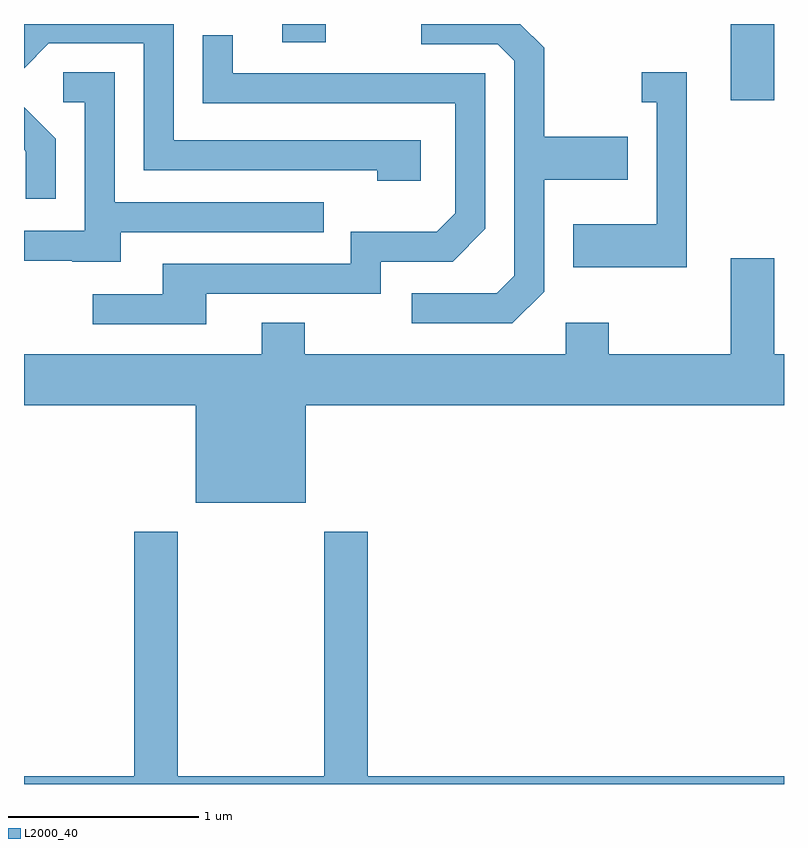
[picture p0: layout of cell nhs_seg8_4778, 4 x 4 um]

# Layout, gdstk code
import gdstk
lib = gdstk.Library(unit=1e-6, precision=1e-09)
def R(c, l, rs):  # rectangles x0, y0, x1, y1
    for r in rs: c.add(gdstk.rectangle(r[:2], r[2:], *l))
def P(c, l, *ps):  # polygons
    for p in ps: c.add(gdstk.Polygon(p, *l))
L2000_40 = (2000, 40)

nhs_seg8_4778 = lib.new_cell('nhs_seg8_4778')
R(nhs_seg8_4778, L2000_40, [(331.331,1917.941,331.559,1918.342), (328.971,1918.246,329.199,1918.342)])
P(nhs_seg8_4778, L2000_40, [(330.349,1916.934),(330.349,1917.521),(330.789,1917.521),(330.789,1917.749),(330.349,1917.749),(330.349,1918.217),(330.224,1918.342),(329.703,1918.342),(329.703,1918.236),(330.104,1918.236),(330.191,1918.149),(330.191,1917.017),(330.099,1916.924),(329.653,1916.924),(329.653,1916.766),(330.182,1916.766)],
  [(329.699,1917.729),(328.399,1917.729),(328.399,1918.342),(327.612,1918.342),(327.611,1918.341),(327.611,1918.11),(327.742,1918.241),(328.241,1918.241),(328.241,1917.571),(329.471,1917.571),(329.471,1917.516),(329.699,1917.516)],
  [(328.569,1916.921),(329.489,1916.921),(329.489,1917.091),(329.867,1917.091),(330.039,1917.264),(330.039,1918.084),(328.709,1918.084),(328.709,1918.283),(328.551,1918.283),(328.551,1917.926),(329.881,1917.926),(329.881,1917.347),(329.784,1917.249),(329.331,1917.249),(329.331,1917.079),(328.341,1917.079),(328.341,1916.919),(327.973,1916.919),(327.973,1916.761),(328.569,1916.761)],
  [(328.119,1917.246),(329.188,1917.246),(329.188,1917.404),(328.089,1917.404),(328.089,1918.089),(327.818,1918.089),(327.818,1917.931),(327.931,1917.931),(327.931,1917.254),(327.611,1917.254),(327.611,1917.096),(327.865,1917.096),(327.865,1917.091),(328.119,1917.091)],
  [(331.099,1918.089),(330.863,1918.089),(330.863,1917.931),(330.941,1917.931),(330.941,1917.289),(330.501,1917.289),(330.501,1917.061),(331.099,1917.061)],
  [(327.779,1917.737),(327.611,1917.905),(327.611,1917.679),(327.621,1917.669),(327.621,1917.423),(327.779,1917.423)],
  [(329.094,1916.336),(331.611,1916.336),(331.611,1916.604),(331.559,1916.604),(331.559,1917.109),(331.331,1917.109),(331.331,1916.604),(330.689,1916.604),(330.689,1916.769),(330.461,1916.769),(330.461,1916.604),(329.089,1916.604),(329.089,1916.769),(328.861,1916.769),(328.861,1916.604),(327.611,1916.604),(327.611,1916.336),(328.516,1916.336),(328.516,1915.821),(329.094,1915.821)],
  [(331.611,1914.384),(329.419,1914.384),(329.419,1915.669),(329.191,1915.669),(329.191,1914.384),(328.419,1914.384),(328.419,1915.669),(328.191,1915.669),(328.191,1914.384),(327.611,1914.384),(327.611,1914.342),(331.611,1914.342)])

lib.write_gds('nhs_seg8_4778.gds')
